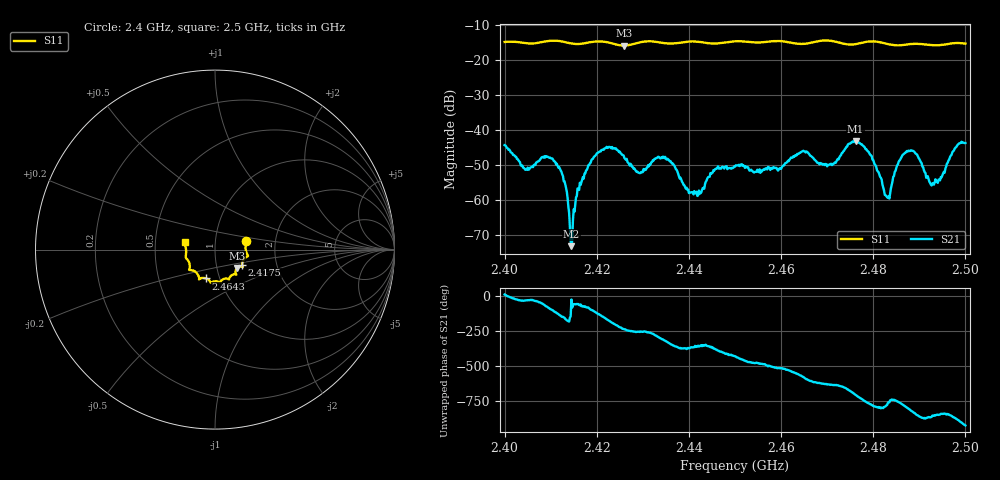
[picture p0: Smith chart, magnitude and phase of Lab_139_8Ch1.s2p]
# Hz S RI R 50
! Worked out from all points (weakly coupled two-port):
!   601 points, 2.4 GHz to 2.5 GHz, reference 50 ohm
!   highest |S21| = -43.20 dB at 2.4762 GHz (marker M1); lowest = -73.1 dB at 2.4145 GHz (marker M2)
!   lowest |S11| = -15.9 dB at 2.4258 GHz (marker M3), VSWR 1.38, Z = 62.3 - j13.2 ohm
!   |S11| at or under -10 dB: start of sweep to end of sweep
!   S12 and S22 are empty: the file has one direction only
!   S11 on the Smith chart (normalised r, x): 2.4 GHz: 1.41, +0.14; 2.4175 GHz: 1.33, -0.23; 2.4643 GHz: 0.86, -0.28; 2.5 GHz: 0.72, +0.06
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2.4e9  0.1728 0.0484  0.006 0.00114  0 0  0 0
2.404667e9  0.171 0.0189  0.00237 -0.0014  0 0  0 0
2.410833e9  0.184 -0.0354  -0.00133 -0.00333  0 0  0 0
2.413e9  0.1749 -0.041  -0.0017 -0.000771  0 0  0 0
2.4145e9  0.1632 -0.0504  0.000202 -9.37e-05  0 0  0 0
2.416667e9  0.1524 -0.074  0.000523 -0.00173  0 0  0 0
2.4175e9  0.1514 -0.0836  0.000647 -0.00233  0 0  0 0
2.422167e9  0.1513 -0.0951  -0.0056 -0.00136  0 0  0 0
2.425833e9  0.1219 -0.1029  -0.00242 0.00361  0 0  0 0
2.4295e9  0.1163 -0.1349  -0.000652 0.00236  0 0  0 0
2.433333e9  0.1135 -0.1373  0.00166 0.00383  0 0  0 0
2.4415e9  0.076 -0.1655  0.00125 -0.000116  0 0  0 0
2.45e9  0.0285 -0.1814  0.000973 -0.00285  0 0  0 0
2.459667e9  -0.0247 -0.1834  -0.00263 -0.0011  0 0  0 0
2.464333e9  -0.0498 -0.1607  -0.00419 0.00247  0 0  0 0
2.466667e9  -0.0763 -0.1586  -0.00133 0.00396  0 0  0 0
2.471333e9  -0.0882 -0.1616  0.000483 0.00328  0 0  0 0
2.476167e9  -0.1183 -0.1181  0.00679 0.00135  0 0  0 0
2.483333e9  -0.1404 -0.0898  0.000854 -0.000753  0 0  0 0
2.487167e9  -0.1561 -0.0536  0.00123 -0.00478  0 0  0 0
2.492833e9  -0.1607 -0.0162  -0.00127 -0.00119  0 0  0 0
2.5e9  -0.1644 0.0432  -0.00579 0.00305  0 0  0 0
